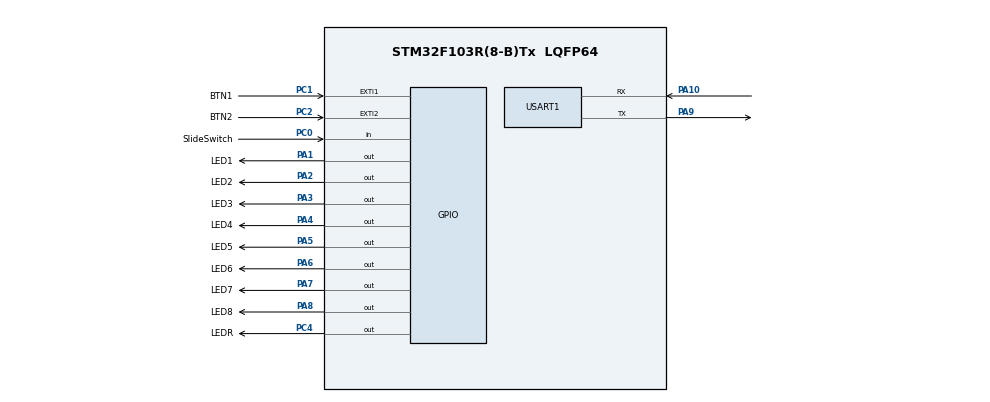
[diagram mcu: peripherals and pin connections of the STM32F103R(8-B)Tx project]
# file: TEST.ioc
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Mcu.Family=STM32F1
Mcu.Name=STM32F103R(8-B)Tx
Mcu.Package=LQFP64
NVIC.EXTI1_IRQn=true\:0\:0\:false\:false\:true\:true\:true\:true
NVIC.EXTI2_IRQn=true\:0\:0\:false\:false\:true\:true\:true\:true
NVIC.PriorityGroup=NVIC_PRIORITYGROUP_4
PA1.GPIO_Label=LED1
PA1.GPIO_ModeDefaultOutputPP=GPIO_MODE_OUTPUT_PP
PA1.GPIO_PuPd=GPIO_NOPULL
PA1.PinState=GPIO_PIN_SET
PA1.Signal=GPIO_Output
PA10.Mode=Asynchronous
PA10.Signal=USART1_RX
PA13.Mode=Trace_Asynchronous_SW
PA13.Signal=SYS_JTMS-SWDIO
PA14.Mode=Trace_Asynchronous_SW
PA14.Signal=SYS_JTCK-SWCLK
PA2.GPIO_Label=LED2
PA2.PinState=GPIO_PIN_SET
PA2.Signal=GPIO_Output
PA3.GPIO_Label=LED3
PA3.PinState=GPIO_PIN_SET
PA3.Signal=GPIO_Output
PA4.GPIO_Label=LED4
PA4.PinState=GPIO_PIN_SET
PA4.Signal=GPIO_Output
PA5.GPIO_Label=LED5
PA5.PinState=GPIO_PIN_SET
PA5.Signal=GPIO_Output
PA6.GPIO_Label=LED6
PA6.PinState=GPIO_PIN_SET
PA6.Signal=GPIO_Output
PA7.GPIO_Label=LED7
PA7.PinState=GPIO_PIN_SET
PA7.Signal=GPIO_Output
PA8.GPIO_Label=LED8
PA8.PinState=GPIO_PIN_SET
PA8.Signal=GPIO_Output
PA9.Mode=Asynchronous
PA9.Signal=USART1_TX
PB3.Mode=Trace_Asynchronous_SW
PB3.Signal=SYS_JTDO-TRACESWO
PC0.GPIO_Label=SlideSwitch
PC0.Signal=GPIO_Input
PC1.GPIO_Label=BTN1
PC1.GPIO_ModeDefaultEXTI=GPIO_MODE_IT_RISING
PC1.GPIO_PuPd=GPIO_PULLUP
PC1.Signal=GPXTI1
PC2.GPIO_Label=BTN2
PC2.GPIO_PuPd=GPIO_PULLUP
PC2.Signal=GPXTI2
PC4.GPIO_Label=LEDR
PC4.Signal=GPIO_Output
ProjectManager.HeapSize=0x200
ProjectManager.StackSize=0x400
ProjectManager.TargetToolchain=STM32CubeIDE
RCC.APB1Freq_Value=8000000
RCC.APB1TimFreq_Value=8000000
RCC.APB2Freq_Value=8000000
RCC.PLLMUL=RCC_PLL_MUL16
RCC.USBFreq_Value=64000000
USART1.VirtualMode=VM_ASYNC
board=custom

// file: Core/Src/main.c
/* USER CODE BEGIN Header */
/**
  ******************************************************************************
  * @file           : main.c
  * @brief          : Main program body
  ******************************************************************************
  * @attention
  *
  * Copyright (c) 2025 STMicroelectronics.
  * All rights reserved.
  *
  * This software is licensed under terms that can be found in the LICENSE file
  * in the root directory of this software component.
  * If no LICENSE file comes with this software, it is provided AS-IS.
  *
  ******************************************************************************
  */
/* USER CODE END Header */
#include "main.h"

/* USER CODE BEGIN Includes */
#include <stdio.h>
#include <stdbool.h>

/* USER CODE END Includes */

UART_HandleTypeDef huart1;

void SystemClock_Config(void);
static void MX_GPIO_Init(void);
static void MX_USART1_UART_Init(void);

/* USER CODE BEGIN 0 */

uint8_t Ledstatus;
//----------------------------------------------------------------------
// Send printf to uart1
int _write(int fd, char* ptr, int len) {
  HAL_StatusTypeDef hstatus;

  if (fd == 1 || fd == 2) {
    hstatus = HAL_UART_Transmit(&huart1, (uint8_t *) ptr, len, HAL_MAX_DELAY);
    if (hstatus == HAL_OK)
      return len;
    else
      return -1;
  }
  return -1;
}
//----------------------------------------------------------------------
GPIO_TypeDef* ports[] = {LED1_GPIO_Port, LED2_GPIO_Port, LED3_GPIO_Port, LED4_GPIO_Port,
                           LED5_GPIO_Port, LED6_GPIO_Port, LED7_GPIO_Port, LED8_GPIO_Port};
uint16_t pins[] = {LED1_Pin, LED2_Pin, LED3_Pin, LED4_Pin,
                     LED5_Pin, LED6_Pin, LED7_Pin, LED8_Pin};
//----------------------------------------------------------------------
uint8_t Ledstatus;
void prinLedStatus()
{

  for (int i = 0; i < 8; i++)
  {
	if (Ledstatus & (1 << i))
	{
		HAL_GPIO_WritePin(ports[i], pins[i], GPIO_PIN_SET);
	}else
	{
		HAL_GPIO_WritePin(ports[i], pins[i], GPIO_PIN_RESET);
	}
  }

}
//-----------------------------------------------------------------------------
void HandleButtons(uint16_t GPIO_Pin)
{
    if (Ledstatus == 0)
    {
        Ledstatus = 1;
    }
    if (GPIO_Pin == BTN1_Pin)
    {
        Ledstatus <<= 1;
        if (Ledstatus == 0) Ledstatus = 1;
    }
    else if (GPIO_Pin == BTN2_Pin)
    {
        Ledstatus >>= 1;
        if (Ledstatus == 0) Ledstatus = 0x80;
    }
}

//--------------------------------------------------------------------------
void HAL_GPIO_EXTI_Callback(uint16_t PGIO_Pin)
{
	HandleButtons(PGIO_Pin);
}
//--------------------------------------------------------------------------

void handlSlideSwitch()
{
	GPIO_PinState btnState = HAL_GPIO_ReadPin(SlideSwitch_GPIO_Port, SlideSwitch_Pin);
	if (btnState == GPIO_PIN_SET)
	{
		HAL_GPIO_WritePin(LEDR_GPIO_Port,LEDR_Pin, GPIO_PIN_SET);
	}
	else
	{
		HAL_GPIO_WritePin(LEDR_GPIO_Port,LEDR_Pin, GPIO_PIN_RESET);
	}
}

//-------------------------------------------------------------------------

/* USER CODE END 0 */

int main(void)
{

  /* MCU Configuration--------------------------------------------------------*/

  /* Reset of all peripherals, Initializes the Flash interface and the Systick. */
  HAL_Init();

  /* Configure the system clock */
  SystemClock_Config();

  /* Initialize all configured peripherals */
  MX_GPIO_Init();
  MX_USART1_UART_Init();

  /* Infinite loop */
  /* USER CODE BEGIN WHILE */

  Ledstatus = 0;
  while (1)
  {

	  prinLedStatus();
	  handlSlideSwitch();

    /* USER CODE END WHILE */

  }
}

void SystemClock_Config(void)
{
  RCC_OscInitTypeDef RCC_OscInitStruct = {0};
  RCC_ClkInitTypeDef RCC_ClkInitStruct = {0};

  /** Initializes the RCC Oscillators according to the specified parameters
  * in the RCC_OscInitTypeDef structure.
  */
  RCC_OscInitStruct.OscillatorType = RCC_OSCILLATORTYPE_HSI;
  RCC_OscInitStruct.HSIState = RCC_HSI_ON;
  RCC_OscInitStruct.HSICalibrationValue = RCC_HSICALIBRATION_DEFAULT;
  RCC_OscInitStruct.PLL.PLLState = RCC_PLL_NONE;
  if (HAL_RCC_OscConfig(&RCC_OscInitStruct) != HAL_OK)
  {
    Error_Handler();
  }

  /** Initializes the CPU, AHB and APB buses clocks
  */
  RCC_ClkInitStruct.ClockType = RCC_CLOCKTYPE_HCLK|RCC_CLOCKTYPE_SYSCLK
                              |RCC_CLOCKTYPE_PCLK1|RCC_CLOCKTYPE_PCLK2;
  RCC_ClkInitStruct.SYSCLKSource = RCC_SYSCLKSOURCE_HSI;
  RCC_ClkInitStruct.AHBCLKDivider = RCC_SYSCLK_DIV1;
  RCC_ClkInitStruct.APB1CLKDivider = RCC_HCLK_DIV1;
  RCC_ClkInitStruct.APB2CLKDivider = RCC_HCLK_DIV1;

  if (HAL_RCC_ClockConfig(&RCC_ClkInitStruct, FLASH_LATENCY_0) != HAL_OK)
  {
    Error_Handler();
  }
}

static void MX_USART1_UART_Init(void)
{

  huart1.Instance = USART1;
  huart1.Init.BaudRate = 115200;
  huart1.Init.WordLength = UART_WORDLENGTH_8B;
  huart1.Init.StopBits = UART_STOPBITS_1;
  huart1.Init.Parity = UART_PARITY_NONE;
  huart1.Init.Mode = UART_MODE_TX_RX;
  huart1.Init.HwFlowCtl = UART_HWCONTROL_NONE;
  huart1.Init.OverSampling = UART_OVERSAMPLING_16;
  if (HAL_UART_Init(&huart1) != HAL_OK)
  {
    Error_Handler();
  }

}

static void MX_GPIO_Init(void)
{
  GPIO_InitTypeDef GPIO_InitStruct = {0};

  /* GPIO Ports Clock Enable */
  __HAL_RCC_GPIOC_CLK_ENABLE();
  __HAL_RCC_GPIOA_CLK_ENABLE();
  __HAL_RCC_GPIOB_CLK_ENABLE();

  /*Configure GPIO pin Output Level */
  HAL_GPIO_WritePin(GPIOA, LED1_Pin|LED2_Pin|LED3_Pin|LED4_Pin
                          |LED5_Pin|LED6_Pin|LED7_Pin|LED8_Pin, GPIO_PIN_SET);

  /*Configure GPIO pin Output Level */
  HAL_GPIO_WritePin(LEDR_GPIO_Port, LEDR_Pin, GPIO_PIN_RESET);

  /*Configure GPIO pin : SlideSwitch_Pin */
  GPIO_InitStruct.Pin = SlideSwitch_Pin;
  GPIO_InitStruct.Mode = GPIO_MODE_INPUT;
  GPIO_InitStruct.Pull = GPIO_NOPULL;
  HAL_GPIO_Init(SlideSwitch_GPIO_Port, &GPIO_InitStruct);

  /*Configure GPIO pins : BTN1_Pin BTN2_Pin */
  GPIO_InitStruct.Pin = BTN1_Pin|BTN2_Pin;
  GPIO_InitStruct.Mode = GPIO_MODE_IT_RISING;
  GPIO_InitStruct.Pull = GPIO_PULLUP;
  HAL_GPIO_Init(GPIOC, &GPIO_InitStruct);

  /*Configure GPIO pins : LED1_Pin LED2_Pin LED3_Pin LED4_Pin
                           LED5_Pin LED6_Pin LED7_Pin LED8_Pin */
  GPIO_InitStruct.Pin = LED1_Pin|LED2_Pin|LED3_Pin|LED4_Pin
                          |LED5_Pin|LED6_Pin|LED7_Pin|LED8_Pin;
  GPIO_InitStruct.Mode = GPIO_MODE_OUTPUT_PP;
  GPIO_InitStruct.Pull = GPIO_NOPULL;
  GPIO_InitStruct.Speed = GPIO_SPEED_FREQ_LOW;
  HAL_GPIO_Init(GPIOA, &GPIO_InitStruct);

  /*Configure GPIO pin : LEDR_Pin */
  GPIO_InitStruct.Pin = LEDR_Pin;
  GPIO_InitStruct.Mode = GPIO_MODE_OUTPUT_PP;
  GPIO_InitStruct.Pull = GPIO_NOPULL;
  GPIO_InitStruct.Speed = GPIO_SPEED_FREQ_LOW;
  HAL_GPIO_Init(LEDR_GPIO_Port, &GPIO_InitStruct);

  /* EXTI interrupt init*/
  HAL_NVIC_SetPriority(EXTI1_IRQn, 0, 0);
  HAL_NVIC_EnableIRQ(EXTI1_IRQn);

  HAL_NVIC_SetPriority(EXTI2_IRQn, 0, 0);
  HAL_NVIC_EnableIRQ(EXTI2_IRQn);

}

void Error_Handler(void)
{
  __disable_irq();
  while (1)
  {
  }
}
